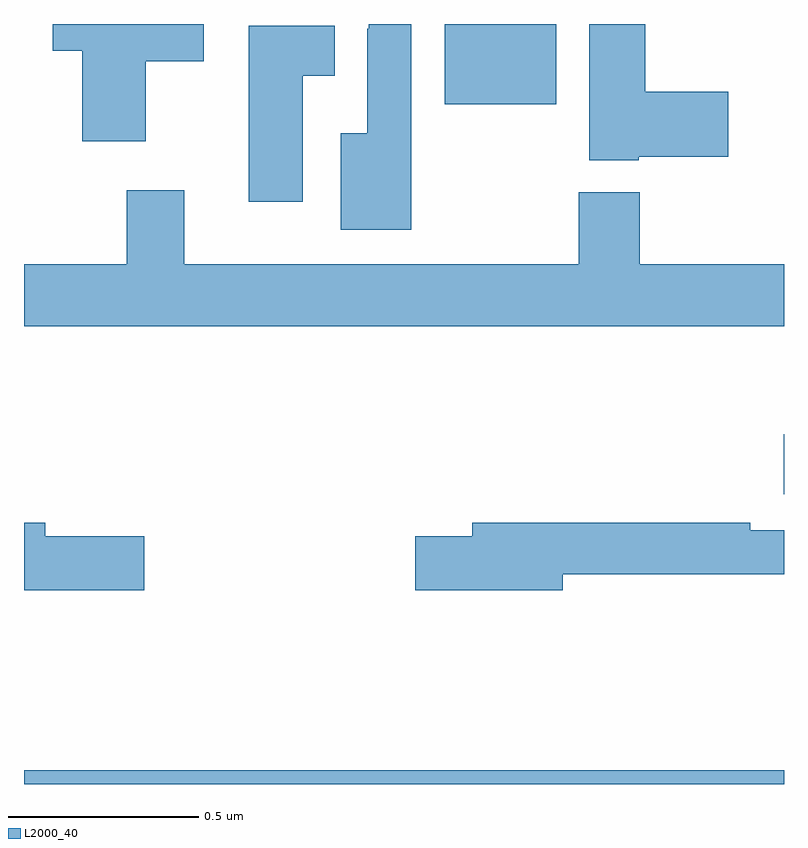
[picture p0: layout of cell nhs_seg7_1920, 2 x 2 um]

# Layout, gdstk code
import gdstk
lib = gdstk.Library(unit=1e-6, precision=1e-09)
def R(c, l, rs):  # rectangles x0, y0, x1, y1
    for r in rs: c.add(gdstk.rectangle(r[:2], r[2:], *l))
def P(c, l, *ps):  # polygons
    for p in ps: c.add(gdstk.Polygon(p, *l))
L2000_40 = (2000, 40)

nhs_seg7_1920 = lib.new_cell('nhs_seg7_1920')
R(nhs_seg7_1920, L2000_40, [(137,1078,139,1078.036), (138.999,1078.763,139,1078.921), (138.107,1079.789,138.4,1080)])
P(nhs_seg7_1920, L2000_40, [(137.32,1079.902),(137.473,1079.902),(137.473,1080),(137.076,1080),(137.076,1079.93),(137.153,1079.93),(137.153,1079.691),(137.32,1079.691)],
  [(138.019,1080),(137.907,1080),(137.907,1079.987),(137.903,1079.987),(137.903,1079.713),(137.834,1079.713),(137.834,1079.459),(138.019,1079.459)],
  [(138.618,1079.651),(138.853,1079.651),(138.853,1079.822),(138.635,1079.822),(138.635,1080),(138.488,1080),(138.488,1079.642),(138.618,1079.642)],
  [(137.734,1079.864),(137.818,1079.864),(137.818,1079.995),(137.591,1079.995),(137.591,1079.532),(137.734,1079.532)],
  [(139,1079.368),(138.62,1079.368),(138.62,1079.557),(138.46,1079.557),(138.46,1079.368),(137.422,1079.368),(137.422,1079.563),(137.27,1079.563),(137.27,1079.368),(137,1079.368),(137,1079.204),(139,1079.204)],
  [(137.317,1078.652),(137.056,1078.652),(137.056,1078.688),(137,1078.688),(137,1078.51),(137.317,1078.51)],
  [(138.418,1078.552),(139,1078.552),(139,1078.668),(138.911,1078.668),(138.911,1078.688),(138.179,1078.688),(138.179,1078.652),(138.03,1078.652),(138.03,1078.51),(138.418,1078.51)])

lib.write_gds('nhs_seg7_1920.gds')
